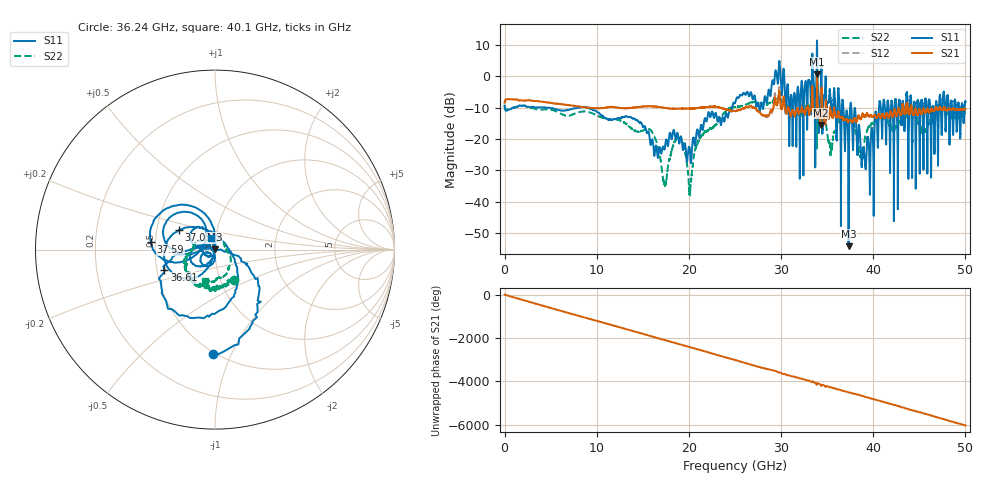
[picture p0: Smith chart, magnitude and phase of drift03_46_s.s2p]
!Created with skrf (http://scikit-rf.org).
# Hz S RI R 50.0
!freq ReS11 ImS11 ReS21 ImS21 ReS12 ImS12 ReS22 ImS22
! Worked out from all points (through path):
!   10001 points, 300 kHz to 50 GHz, reference 50 ohm
!   highest |S21| = 0.64 dB at 33.9 GHz (marker M1); lowest = -15.5 dB at 34.32 GHz (marker M2)
!   group delay of S21, straight-line fit = 335 ps
!   lowest |S11| = -54.1 dB at 37.33 GHz (marker M3), VSWR 1.00, Z = 49.9 + j0.146 ohm
!   |S11| at or under -10 dB: 4.474 GHz to 7.952 GHz (3.477 GHz wide, 56 % of centre); 9.01 GHz to 24.7 GHz (15.69 GHz wide, 93.1 % of centre); 37.62 GHz to 40.62 GHz (3.003 GHz wide, 7.68 % of centre) (the widest 3 of 56)
!   |S22| runs from -37.9 to -5.9 dB; largest |S21 - S12| = 0.11
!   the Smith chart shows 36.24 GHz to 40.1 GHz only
!   S11 on the Smith chart (normalised r, x): 36.24 GHz: 0.48, -0.86; 36.61 GHz: 0.55, -0.14; 37.05 GHz: 0.65, +0.15; 37.59 GHz: 0.47, +0.05; 40.1 GHz: 0.95, +0.12
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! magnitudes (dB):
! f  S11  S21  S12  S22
! 300 kHz  -9.4  -8.4  -8.4  -9.3
! 8.335 GHz  -9.9  -9.8  -9.8  -11.3
! 16.67 GHz  -25.4  -9.8  -9.8  -23.2
! 17.39 GHz  -22.7  -10.1  -10.1  -34.7
! 19.07 GHz  -19.8  -10.3  -10.3  -20.0
! 20.13 GHz  -24.5  -10.3  -10.3  -36.3
! 21.22 GHz  -17.0  -10.1  -10.1  -19.6
! 25 GHz  -8.5  -11.1  -11.1  -9.8
! 31.08 GHz  -6.1  -12.7  -12.7  -10.5
! 33.34 GHz  0.3  -7.6  -7.6  -9.4
! 33.9 GHz  11.3  0.6  0.2  -23.0
! 34.32 GHz  -2.9  -15.5  -14.9  -11.2
! 35.35 GHz  -6.5  -10.5  -10.0  -24.3
! 36.24 GHz  -4.7  -11.8  -11.7  -14.0
! 36.61 GHz  -10.4  -13.1  -13.0  -13.3
! 37.05 GHz  -12.8  -13.8  -14.0  -14.3
! 37.33 GHz  -54.1  -14.4  -14.5  -13.7
! 37.59 GHz  -8.9  -13.9  -13.9  -13.9
! 38.71 GHz  -26.6  -13.4  -13.3  -25.2
! 40.1 GHz  -23.4  -12.6  -12.7  -14.8
! 41.67 GHz  -9.5  -13.3  -13.2  -14.8
! 50 GHz  -8.0  -10.5  -10.5  -12.1
